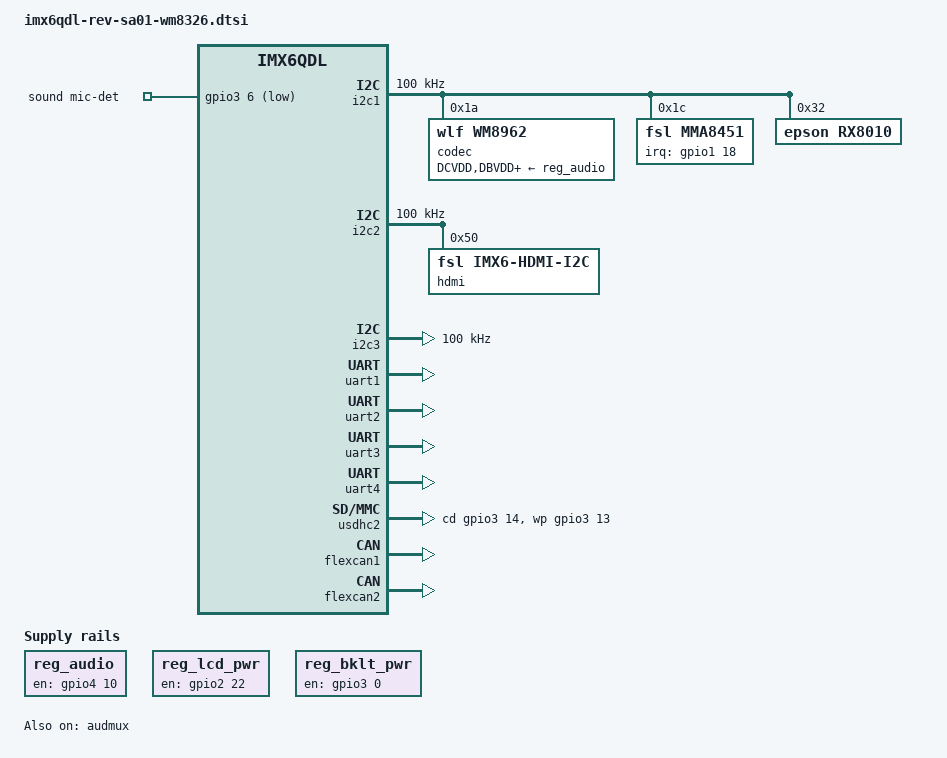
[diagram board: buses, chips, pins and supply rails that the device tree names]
/ {
	regulators {
		reg_audio: wm8962_supply {
			compatible = "regulator-fixed";
			regulator-name = "wm8962-supply";
			gpio = <&gpio4 10 0>;
			enable-active-high;
		};

		reg_lcd_pwr: lcd_pwr {
			compatible = "regulator-fixed";
			regulator-name = "lcd_pwr";
			gpio = <&gpio2 22 0>;
			enable-active-high;
			regulator-always-on;
			regulator-boot-on;
		};

		reg_bklt_pwr: bklt_pwr {
			compatible = "regulator-fixed";
			regulator-name = "bklt_pwr";
			gpio = <&gpio3 0 0>;
			enable-active-high;
			regulator-always-on;
			regulator-boot-on;
		};
	};

	sound {
		compatible = "fsl,imx6q-sabresd-wm8962",
			   "fsl,imx-audio-wm8962";
		model = "wm8962-audio";
		cpu-dai = <&ssi2>;
		audio-codec = <&codec>;
		audio-routing =
			"Headphone Jack", "HPOUTL",
			"Headphone Jack", "HPOUTR",
			"Ext Spk", "SPKOUTL",
			"Ext Spk", "SPKOUTR",
			"MICBIAS", "AMIC",
			"IN3R", "MICBIAS",
			"DMIC", "MICBIAS",
			"DMICDAT", "DMIC";
		mux-int-port = <2>;
		mux-ext-port = <3>;
		mic-det-gpios = <&gpio3 6 1>;
	};
};

&audmux {
	pinctrl-names = "default";
	pinctrl-0 = <&pinctrl_audmux_2>;
	status = "okay";
};

&i2c1 {
	clock-frequency = <100000>;
	pinctrl-names = "default";
	pinctrl-0 = <&pinctrl_i2c1_2>;
	status = "okay";

	codec: wm8962@1a {
		compatible = "wlf,wm8962";
		reg = <0x1a>;
		clocks = <&clks 201>;
		DCVDD-supply = <&reg_audio>;
		DBVDD-supply = <&reg_audio>;
		AVDD-supply = <&reg_audio>;
		CPVDD-supply = <&reg_audio>;
		MICVDD-supply = <&reg_audio>;
		PLLVDD-supply = <&reg_audio>;
		SPKVDD1-supply = <&reg_audio>;
		SPKVDD2-supply = <&reg_audio>;
		amic-mono;
		gpio-cfg = <
			0x0000 /* 0:Default */
			0x0000 /* 1:Default */
			0x0013 /* 2:FN_DMICCLK */
			0x0000 /* 3:Default */
			0x8014 /* 4:FN_DMICCDAT */
			0x0000 /* 5:Default */
		>;
	};

	mma8451@1c {
		compatible = "fsl,mma8451";
		reg = <0x1c>;
		position = <0>;
		interrupt-parent = <&gpio1>;
		interrupts = <18 8>;
		interrupt-route = <1>;
	};

	rx8010@32 {
		compatible = "epson,rx8010";
		reg = <0x32>;
	};
};

&i2c2 {
	clock-frequency = <100000>;
	pinctrl-names = "default";
	pinctrl-0 = <&pinctrl_i2c2_2>;
	status = "okay";

	hdmi: edid@50 {
		compatible = "fsl,imx6-hdmi-i2c";
		reg = <0x50>;
	};
};

&i2c3 {
        clock-frequency = <100000>;
        pinctrl-names = "default";
        pinctrl-0 = <&pinctrl_i2c3_2>;
        status = "okay";
};

&iomuxc {
	pinctrl-names = "default";
	pinctrl-0 = <&pinctrl_hog_1>;

	hog {
		pinctrl_hog_1: hoggrp-1 {
			fsl,pins = <
				/* USDHC WP & CD */
				MX6QDL_PAD_EIM_DA14__GPIO3_IO14 0x80000000
				MX6QDL_PAD_EIM_DA13__GPIO3_IO13 0x80000000
				/* Audio Codec en */
				MX6QDL_PAD_GPIO_0__CCM_CLKO1    0x130b0
				MX6QDL_PAD_SD1_DAT1__GPIO1_IO17 0x80000000
				MX6QDL_PAD_EIM_D16__GPIO3_IO16  0x80000000
				/* LCD_VDD_EN & LCD_BKLT_EN */
				MX6QDL_PAD_EIM_A16__GPIO2_IO22 0x80000000
				MX6QDL_PAD_EIM_DA0__GPIO3_IO00 0x80000000

			>;
		};
	};
};

&uart1 {
	pinctrl-names = "default";
	pinctrl-0 = <&pinctrl_uart1_2>;
	status = "okay";
};

&uart2 {
	pinctrl-names = "default";
	pinctrl-0 = <&pinctrl_uart2_1>;
	status = "okay";
};

&uart3 {
	pinctrl-names = "default";
	pinctrl-0 = <&pinctrl_uart3dte_2>;
	status = "okay";
};

&uart4 {
	pinctrl-names = "default";
	pinctrl-0 = <&pinctrl_uart4_2>;
	status = "okay";
};

&usdhc2 {
	pinctrl-names = "default";
	pinctrl-0 = <&pinctrl_usdhc2_2>;
	cd-gpios = <&gpio3 14 0>;
	wp-gpios = <&gpio3 13 0>;
	no-1-8-v;
	keep-power-in-suspend;
	status = "okay";
};

&flexcan1 {
	pinctrl-names = "default";
	pinctrl-0 = <&pinctrl_flexcan1_3>;
	status = "okay";
};

&flexcan2 {
	pinctrl-names = "default";
	pinctrl-0 = <&pinctrl_flexcan2_1>;
	status = "okay";
};

